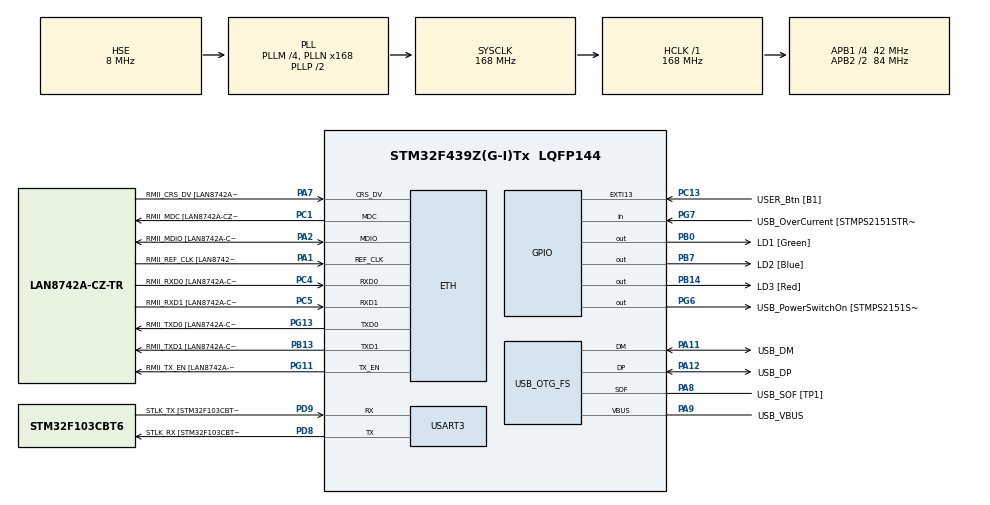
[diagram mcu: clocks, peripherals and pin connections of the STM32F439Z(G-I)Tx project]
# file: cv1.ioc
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ETH.MediaInterface=HAL_ETH_RMII_MODE
ETH.PHY_Name=LAN8742A_PHY_ADDRESS
ETH.PHY_Value=0
ETH.PhyAddress=0
Mcu.Family=STM32F4
Mcu.Name=STM32F439Z(G-I)Tx
Mcu.Package=LQFP144
NVIC.PriorityGroup=NVIC_PRIORITYGROUP_4
PA1.GPIO_Label=RMII_REF_CLK [LAN8742A-CZ-TR_REFCLK0]
PA1.Mode=RMII
PA1.Signal=ETH_REF_CLK
PA10.GPIO_Label=USB_ID
PA10.Signal=USB_OTG_FS_ID
PA11.GPIO_Label=USB_DM
PA11.Mode=Device_Only
PA11.Signal=USB_OTG_FS_DM
PA12.GPIO_Label=USB_DP
PA12.Mode=Device_Only
PA12.Signal=USB_OTG_FS_DP
PA13.GPIO_Label=TMS
PA13.Mode=Serial_Wire
PA13.Signal=SYS_JTMS-SWDIO
PA14.GPIO_Label=TCK
PA14.Mode=Serial_Wire
PA14.Signal=SYS_JTCK-SWCLK
PA2.GPIO_Label=RMII_MDIO [LAN8742A-CZ-TR_MDIO]
PA2.Mode=RMII
PA2.Signal=ETH_MDIO
PA7.GPIO_Label=RMII_CRS_DV [LAN8742A-CZ-TR_CRS_DV]
PA7.Mode=RMII
PA7.Signal=ETH_CRS_DV
PA8.GPIO_Label=USB_SOF [TP1]
PA8.Mode=Activate_SOF_FS
PA8.Signal=USB_OTG_FS_SOF
PA9.GPIO_Label=USB_VBUS
PA9.Mode=Activate_VBUS
PA9.Signal=USB_OTG_FS_VBUS
PB0.GPIO_Label=LD1 [Green]
PB0.Signal=GPIO_Output
PB13.GPIO_Label=RMII_TXD1 [LAN8742A-CZ-TR_TXD1]
PB13.Mode=RMII
PB13.Signal=ETH_TXD1
PB14.GPIO_Label=LD3 [Red]
PB14.Signal=GPIO_Output
PB7.GPIO_Label=LD2 [Blue]
PB7.Signal=GPIO_Output
PC1.GPIO_Label=RMII_MDC [LAN8742A-CZ-TR_MDC]
PC1.Mode=RMII
PC1.Signal=ETH_MDC
PC13.GPIO_Label=USER_Btn [B1]
PC13.Signal=GPXTI13
PC14/OSC32_IN.Mode=LSE-External-Oscillator
PC14/OSC32_IN.Signal=RCC_OSC32_IN
PC15/OSC32_OUT.Mode=LSE-External-Oscillator
PC15/OSC32_OUT.Signal=RCC_OSC32_OUT
PC4.GPIO_Label=RMII_RXD0 [LAN8742A-CZ-TR_RXD0]
PC4.Mode=RMII
PC4.Signal=ETH_RXD0
PC5.GPIO_Label=RMII_RXD1 [LAN8742A-CZ-TR_RXD1]
PC5.Mode=RMII
PC5.Signal=ETH_RXD1
PD8.GPIO_Label=STLK_RX [STM32F103CBT6_PA3]
PD8.Mode=Asynchronous
PD8.Signal=USART3_TX
PD9.GPIO_Label=STLK_TX [STM32F103CBT6_PA2]
PD9.Mode=Asynchronous
PD9.Signal=USART3_RX
PG11.GPIO_Label=RMII_TX_EN [LAN8742A-CZ-TR_TXEN]
PG11.Mode=RMII
PG11.Signal=ETH_TX_EN
PG13.GPIO_Label=RMII_TXD0 [LAN8742A-CZ-TR_TXD0]
PG13.Mode=RMII
PG13.Signal=ETH_TXD0
PG6.GPIO_Label=USB_PowerSwitchOn [STMPS2151STR_EN]
PG6.Signal=GPIO_Output
PG7.GPIO_Label=USB_OverCurrent [STMPS2151STR_FAULT]
PG7.Signal=GPIO_Input
PH0/OSC_IN.GPIO_Label=MCO [STM32F103CBT6_PA8]
PH0/OSC_IN.Mode=HSE-External-Clock-Source
PH0/OSC_IN.Signal=RCC_OSC_IN
PH1/OSC_OUT.Mode=HSE-External-Clock-Source
PH1/OSC_OUT.Signal=RCC_OSC_OUT
ProjectManager.HeapSize=0x200
ProjectManager.StackSize=0x400
ProjectManager.TargetToolchain=STM32CubeIDE
RCC.48MHZClocksFreq_Value=48000000
RCC.AHBFreq_Value=168000000
RCC.APB1CLKDivider=RCC_HCLK_DIV4
RCC.APB1Freq_Value=42000000
RCC.APB1TimFreq_Value=84000000
RCC.APB2CLKDivider=RCC_HCLK_DIV2
RCC.APB2Freq_Value=84000000
RCC.APB2TimCLKDivider=2
RCC.APB2TimFreq_Value=168000000
RCC.CortexFreq_Value=168000000
RCC.HCLKFreq_Value=168000000
RCC.HSE_VALUE=8000000
RCC.HSI_VALUE=16000000
RCC.PLLM=4
RCC.PLLMUL=RCC_PLL_MUL9
RCC.PLLN=168
RCC.PLLQ=7
RCC.PRESCALERUSB=RCC_USBCLKSOURCE_PLL_DIV1_5
RCC.SYSCLKFreq_VALUE=168000000
RCC.SYSCLKSource=RCC_SYSCLKSOURCE_PLLCLK
RCC.SYSCLKSourceVirtual=RCC_SYSCLKSOURCE_PLLCLK
RCC.USBFreq_Value=48000000
RCC.VCOOutputFreq_Value=336000000
USART3.VirtualMode=VM_ASYNC
USB_OTG_FS.VirtualMode=Device_Only
board=NUCLEO-F439ZI

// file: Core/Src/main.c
/* USER CODE BEGIN Header */
/**
  ******************************************************************************
  * @file           : main.c
  * @brief          : Main program body
  ******************************************************************************
  * @attention
  *
  * Copyright (c) 2026 STMicroelectronics.
  * All rights reserved.
  *
  * This software is licensed under terms that can be found in the LICENSE file
  * in the root directory of this software component.
  * If no LICENSE file comes with this software, it is provided AS-IS.
  *
  ******************************************************************************
  */
/* USER CODE END Header */
#include "main.h"
#include "eth.h"
#include "usart.h"
#include "usb_otg.h"
#include "gpio.h"

/* USER CODE BEGIN Includes */
#include "obsluhy.h"
#include <stdio.h>
#include <stdlib.h>
#include <string.h>
/* USER CODE END Includes */

/* USER CODE BEGIN PD */

#define ODECET
int b = 2;

/* USER CODE END PD */

/* USER CODE BEGIN PV */
int a = 10;

unsigned char x = 255;
unsigned char y = 255;

int z = 0;

/* USER CODE END PV */

void SystemClock_Config(void);

/* USER CODE BEGIN 0 */

const int UPPER_CASE = 1;
const int NORMAL_CASE = 0;

char pole[26];

void generateField(int textCase)
{
    char startChar;

    if (textCase == UPPER_CASE)
	{
        startChar = 'A';
    } else
	{
        startChar = 'a';
    }

    for (int i = 0; i < 26; i++)
	{
        pole[i] = startChar + i;
    }
}

/* USER CODE END 0 */

int main(void)
{

  /* MCU Configuration--------------------------------------------------------*/

  /* Reset of all peripherals, Initializes the Flash interface and the Systick. */
  HAL_Init();

  /* Configure the system clock */
  SystemClock_Config();

  /* Initialize all configured peripherals */
  MX_GPIO_Init();
  MX_ETH_Init();
  MX_USART3_UART_Init();
  MX_USB_OTG_FS_PCD_Init();
  /* USER CODE BEGIN 2 */

  setvbuf(stdout, NULL, _IONBF, 0);//buffer na printovanie

  //Ukol3
  #ifdef ODECET
  	  a=a-b;
  #endif
  printf("vysledok: %d\r\n", a);

  //Ukol4
  z = x + y;
  printf("vysledok pretipovane: %d\r\n", z);

  //Ukol5
  int d;
  d = 24 >> 3;
  d=d-1;
  d=d & 0x2;
  printf("vysledok operacie: %d\r\n", d);

  //Ukol6
  int e = 200;
  char str1[]="Hodnota=";
  char str2[80];

  itoa(e,str2,10);
  strcat(str1,str2);

  printf("%s\n\r", str1);

  char str3[100];
  sprintf(str3, "%s%s", str1, str2);
  printf("%s\n\r",str3);

  /* USER CODE END 2 */

  /* Infinite loop */
  /* USER CODE BEGIN WHILE */
  while (1)
  {
	  HAL_GPIO_TogglePin(LD1_GPIO_Port,LD1_Pin);
	  HAL_Delay(500);

    /* USER CODE END WHILE */

  }
}

void SystemClock_Config(void)
{
  RCC_OscInitTypeDef RCC_OscInitStruct = {0};
  RCC_ClkInitTypeDef RCC_ClkInitStruct = {0};

  /** Configure the main internal regulator output voltage
  */
  __HAL_RCC_PWR_CLK_ENABLE();
  __HAL_PWR_VOLTAGESCALING_CONFIG(PWR_REGULATOR_VOLTAGE_SCALE1);

  /** Initializes the RCC Oscillators according to the specified parameters
  * in the RCC_OscInitTypeDef structure.
  */
  RCC_OscInitStruct.OscillatorType = RCC_OSCILLATORTYPE_HSE;
  RCC_OscInitStruct.HSEState = RCC_HSE_BYPASS;
  RCC_OscInitStruct.PLL.PLLState = RCC_PLL_ON;
  RCC_OscInitStruct.PLL.PLLSource = RCC_PLLSOURCE_HSE;
  RCC_OscInitStruct.PLL.PLLM = 4;
  RCC_OscInitStruct.PLL.PLLN = 168;
  RCC_OscInitStruct.PLL.PLLP = RCC_PLLP_DIV2;
  RCC_OscInitStruct.PLL.PLLQ = 7;
  if (HAL_RCC_OscConfig(&RCC_OscInitStruct) != HAL_OK)
  {
    Error_Handler();
  }

  /** Initializes the CPU, AHB and APB buses clocks
  */
  RCC_ClkInitStruct.ClockType = RCC_CLOCKTYPE_HCLK|RCC_CLOCKTYPE_SYSCLK
                              |RCC_CLOCKTYPE_PCLK1|RCC_CLOCKTYPE_PCLK2;
  RCC_ClkInitStruct.SYSCLKSource = RCC_SYSCLKSOURCE_PLLCLK;
  RCC_ClkInitStruct.AHBCLKDivider = RCC_SYSCLK_DIV1;
  RCC_ClkInitStruct.APB1CLKDivider = RCC_HCLK_DIV4;
  RCC_ClkInitStruct.APB2CLKDivider = RCC_HCLK_DIV2;

  if (HAL_RCC_ClockConfig(&RCC_ClkInitStruct, FLASH_LATENCY_5) != HAL_OK)
  {
    Error_Handler();
  }
}

void Error_Handler(void)
{
  __disable_irq();
  while (1)
  {
  }
}
